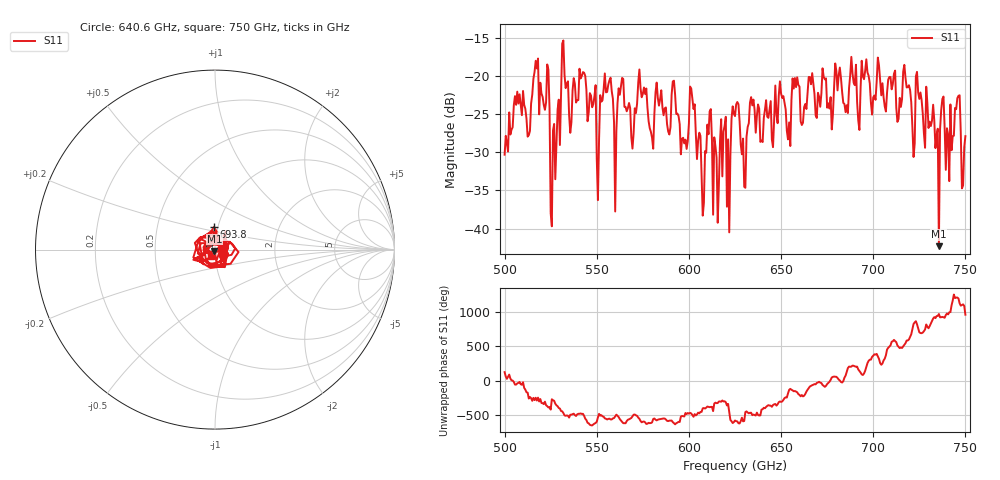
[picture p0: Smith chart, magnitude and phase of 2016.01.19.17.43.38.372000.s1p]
!Created with skrf (http://scikit-rf.org).
# GHz S RI R 50.0
!freq ReS11 ImS11
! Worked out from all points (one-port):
!   401 points, 500 GHz to 750 GHz, reference 50 ohm
!   lowest |S11| = -42.3 dB at 735.6 GHz (marker M1), VSWR 1.02, Z = 49.7 - j0.705 ohm
!   |S11| at or under -10 dB: start of sweep to end of sweep
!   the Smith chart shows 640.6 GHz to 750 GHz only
!   S11 on the Smith chart (normalised r, x): 640.6 GHz: 1.09, -0.06; 693.8 GHz: 0.96, +0.24; 750 GHz: 0.96, -0.07
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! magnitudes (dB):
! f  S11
! 500 GHz  -30.3
! 506.9 GHz  -22.1
! 513.1 GHz  -27.8
! 516.9 GHz  -18.0
! 523.1 GHz  -18.5
! 526.2 GHz  -27.2
! 531.2 GHz  -15.8
! 551.2 GHz  -28.3
! 553.1 GHz  -23.2
! 560 GHz  -37.8
! 562.5 GHz  -22.5
! 593.8 GHz  -24.9
! 601.9 GHz  -23.1
! 608.1 GHz  -36.6
! 611.2 GHz  -24.6
! 614.4 GHz  -29.2
! 621.9 GHz  -40.5
! 625 GHz  -25.3
! 629.4 GHz  -28.2
! 634.4 GHz  -23.9
! 640.6 GHz  -25.5
! 656.2 GHz  -20.3
! 687.5 GHz  -19.9
! 693.8 GHz  -18.0
! 718.8 GHz  -21.5
! 735.6 GHz  -42.3
! 745.6 GHz  -22.9
! 750 GHz  -27.9
